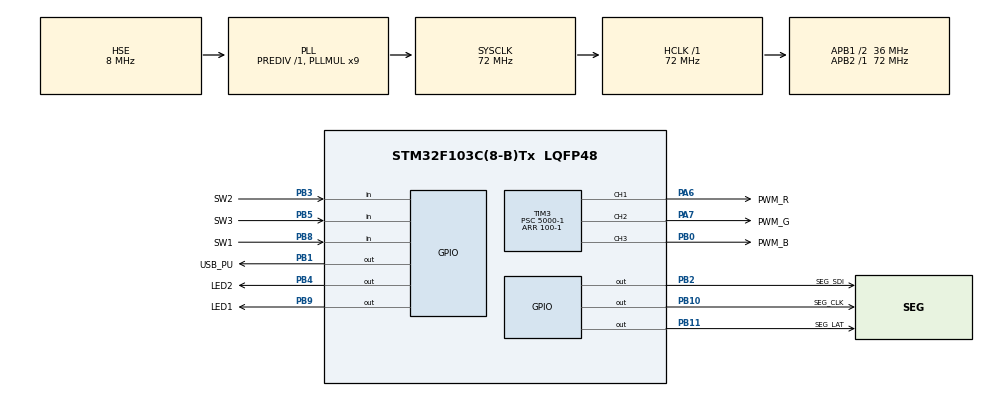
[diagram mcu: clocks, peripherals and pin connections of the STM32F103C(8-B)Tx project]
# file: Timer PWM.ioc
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Mcu.Family=STM32F1
Mcu.Name=STM32F103C(8-B)Tx
Mcu.Package=LQFP48
NVIC.PriorityGroup=NVIC_PRIORITYGROUP_4
PA0-WKUP.GPIO_Label=POT1
PA0-WKUP.Signal=ADCx_IN0
PA1.GPIO_Label=POT2
PA1.Signal=ADCx_IN1
PA10.GPIO_Label=RGB_DI
PA10.Signal=S_TIM1_CH3
PA11.Signal=USB_DM
PA12.Signal=USB_DP
PA13.GPIO_Label=SWDIO
PA13.Mode=Serial_Wire
PA13.Signal=SYS_JTMS-SWDIO
PA14.GPIO_Label=SWCLK
PA14.Mode=Serial_Wire
PA14.Signal=SYS_JTCK-SWCLK
PA15.GPIO_Label=BUZ
PA15.Signal=S_TIM2_CH1_ETR
PA2.GPIO_Label=TX2
PA2.Signal=USART2_TX
PA3.GPIO_Label=RX2
PA3.Signal=USART2_RX
PA4.GPIO_Label=POT3
PA4.Signal=ADCx_IN4
PA5.GPIO_Label=TEMP
PA5.Signal=ADCx_IN5
PA6.GPIO_Label=PWM_R
PA6.Signal=S_TIM3_CH1
PA7.GPIO_Label=PWM_G
PA7.Signal=S_TIM3_CH2
PA8.GPIO_Label=PWM_P
PA8.Signal=S_TIM1_CH1
PB0.GPIO_Label=PWM_B
PB0.Signal=S_TIM3_CH3
PB1.GPIO_Label=USB_PU
PB1.GPIO_Speed=GPIO_SPEED_FREQ_HIGH
PB1.PinState=GPIO_PIN_RESET
PB1.Signal=GPIO_Output
PB10.GPIO_Label=SEG_CLK
PB10.GPIO_ModeDefaultOutputPP=GPIO_MODE_OUTPUT_OD
PB10.GPIO_PuPd=GPIO_NOPULL
PB10.GPIO_Speed=GPIO_SPEED_FREQ_HIGH
PB10.PinState=GPIO_PIN_RESET
PB10.Signal=GPIO_Output
PB11.GPIO_Label=SEG_LAT
PB11.GPIO_ModeDefaultOutputPP=GPIO_MODE_OUTPUT_OD
PB11.GPIO_PuPd=GPIO_NOPULL
PB11.GPIO_Speed=GPIO_SPEED_FREQ_HIGH
PB11.PinState=GPIO_PIN_RESET
PB11.Signal=GPIO_Output
PB13.GPIO_Label=PWM_N
PB13.Signal=TIM1_CH1N
PB2.GPIO_Label=SEG_SDI
PB2.GPIO_ModeDefaultOutputPP=GPIO_MODE_OUTPUT_OD
PB2.GPIO_PuPd=GPIO_NOPULL
PB2.GPIO_Speed=GPIO_SPEED_FREQ_HIGH
PB2.PinState=GPIO_PIN_RESET
PB2.Signal=GPIO_Output
PB3.GPIO_Label=SW2
PB3.Signal=GPIO_Input
PB4.GPIO_Label=LED2
PB4.GPIO_Speed=GPIO_SPEED_FREQ_HIGH
PB4.PinState=GPIO_PIN_RESET
PB4.Signal=GPIO_Output
PB5.GPIO_Label=SW3
PB5.Signal=GPIO_Input
PB6.GPIO_Label=ROT_A
PB6.Signal=S_TIM4_CH1
PB7.GPIO_Label=ROT_B
PB7.Signal=S_TIM4_CH2
PB8.GPIO_Label=SW1
PB8.Signal=GPIO_Input
PB9.GPIO_Label=LED1
PB9.GPIO_Speed=GPIO_SPEED_FREQ_HIGH
PB9.PinState=GPIO_PIN_RESET
PB9.Signal=GPIO_Output
PD0-OSC_IN.GPIO_Label=OSC_IN
PD0-OSC_IN.Mode=HSE-External-Oscillator
PD0-OSC_IN.Signal=RCC_OSC_IN
PD1-OSC_OUT.GPIO_Label=OSC_OUT
PD1-OSC_OUT.Mode=HSE-External-Oscillator
PD1-OSC_OUT.Signal=RCC_OSC_OUT
ProjectManager.HeapSize=0x200
ProjectManager.StackSize=0x400
ProjectManager.TargetToolchain=MDK-ARM V5.27
RCC.ADCPresc=RCC_ADCPCLK2_DIV6
RCC.AHBFreq_Value=72000000
RCC.APB1CLKDivider=RCC_HCLK_DIV2
RCC.APB1Freq_Value=36000000
RCC.APB1TimFreq_Value=72000000
RCC.APB2Freq_Value=72000000
RCC.APB2TimFreq_Value=72000000
RCC.HCLKFreq_Value=72000000
RCC.PLLMUL=RCC_PLL_MUL9
RCC.PLLSourceVirtual=RCC_PLLSOURCE_HSE
RCC.SYSCLKFreq_VALUE=72000000
RCC.SYSCLKSource=RCC_SYSCLKSOURCE_PLLCLK
RCC.USBFreq_Value=48000000
RCC.USBPrescaler=RCC_USBCLKSOURCE_PLL_DIV1_5
SH.ADCx_IN0.0=ADC1_IN0
SH.ADCx_IN1.0=ADC1_IN1
SH.ADCx_IN4.0=ADC1_IN4
SH.ADCx_IN5.0=ADC1_IN5
SH.S_TIM1_CH1.0=TIM1_CH1
SH.S_TIM1_CH3.0=TIM1_CH3
SH.S_TIM2_CH1_ETR.0=TIM2_CH1
SH.S_TIM3_CH1.0=TIM3_CH1,PWM Generation1 CH1
SH.S_TIM3_CH2.0=TIM3_CH2,PWM Generation2 CH2
SH.S_TIM3_CH3.0=TIM3_CH3,PWM Generation3 CH3
SH.S_TIM4_CH1.0=TIM4_CH1
SH.S_TIM4_CH2.0=TIM4_CH2
TIM3.Channel-PWM\ Generation1\ CH1=TIM_CHANNEL_1
TIM3.Channel-PWM\ Generation2\ CH2=TIM_CHANNEL_2
TIM3.Channel-PWM\ Generation3\ CH3=TIM_CHANNEL_3
TIM3.Period=100-1
TIM3.Prescaler=5000-1
VP_TIM3_VS_ClockSourceINT.Mode=Internal
board=custom

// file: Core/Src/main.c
/* USER CODE BEGIN Header */
/**
  ******************************************************************************
  * @file           : main.c
  * @brief          : Main program body
  ******************************************************************************
  * @attention
  *
  * Copyright (c) 2022 STMicroelectronics.
  * All rights reserved.
  *
  * This software is licensed under terms that can be found in the LICENSE file
  * in the root directory of this software component.
  * If no LICENSE file comes with this software, it is provided AS-IS.
  *
  ******************************************************************************
  */
/* USER CODE END Header */
#include "main.h"
#include "tim.h"
#include "gpio.h"

void SystemClock_Config(void);

int main(void)
{
  /* USER CODE BEGIN 1 */

	uint16_t duty_cycle = 0;
	uint16_t ch = 1;

  /* USER CODE END 1 */

  /* MCU Configuration--------------------------------------------------------*/

  /* Reset of all peripherals, Initializes the Flash interface and the Systick. */
  HAL_Init();

  /* Configure the system clock */
  SystemClock_Config();

  /* Initialize all configured peripherals */
  MX_GPIO_Init();
  MX_TIM3_Init();
  /* USER CODE BEGIN 2 */

	HAL_TIM_PWM_Start(&htim3, TIM_CHANNEL_1);
	HAL_TIM_PWM_Start(&htim3, TIM_CHANNEL_2);
	HAL_TIM_PWM_Start(&htim3, TIM_CHANNEL_3);

  /* USER CODE END 2 */

  /* Infinite loop */
  while (1)
  {

    /* USER CODE BEGIN 3 */
		while(duty_cycle < __HAL_TIM_GET_AUTORELOAD(&htim3))
		{
			switch(ch)
			{
				case 1:
					__HAL_TIM_SET_COMPARE(&htim3, TIM_CHANNEL_1, ++duty_cycle);
					break;
				case 2:
					__HAL_TIM_SET_COMPARE(&htim3, TIM_CHANNEL_2, ++duty_cycle);
					break;
				case 3:
					__HAL_TIM_SET_COMPARE(&htim3, TIM_CHANNEL_3, ++duty_cycle);
					break;
			}
			HAL_Delay(5);
		}

		while(duty_cycle > 0)
		{
			switch(ch)
			{
				case 1:
					__HAL_TIM_SET_COMPARE(&htim3, TIM_CHANNEL_1, --duty_cycle);
					break;
				case 2:
					__HAL_TIM_SET_COMPARE(&htim3, TIM_CHANNEL_2, --duty_cycle);
					break;
				case 3:
					__HAL_TIM_SET_COMPARE(&htim3, TIM_CHANNEL_3, --duty_cycle);
					break;
			}
			HAL_Delay(5);
		}
		ch++;
		if(ch > 3)
		{
			ch = 1;
		}
  }
  /* USER CODE END 3 */
}

void SystemClock_Config(void)
{
  RCC_OscInitTypeDef RCC_OscInitStruct = {0};
  RCC_ClkInitTypeDef RCC_ClkInitStruct = {0};

  /** Initializes the RCC Oscillators according to the specified parameters
  * in the RCC_OscInitTypeDef structure.
  */
  RCC_OscInitStruct.OscillatorType = RCC_OSCILLATORTYPE_HSE;
  RCC_OscInitStruct.HSEState = RCC_HSE_ON;
  RCC_OscInitStruct.HSEPredivValue = RCC_HSE_PREDIV_DIV1;
  RCC_OscInitStruct.HSIState = RCC_HSI_ON;
  RCC_OscInitStruct.PLL.PLLState = RCC_PLL_ON;
  RCC_OscInitStruct.PLL.PLLSource = RCC_PLLSOURCE_HSE;
  RCC_OscInitStruct.PLL.PLLMUL = RCC_PLL_MUL9;
  if (HAL_RCC_OscConfig(&RCC_OscInitStruct) != HAL_OK)
  {
    Error_Handler();
  }
  /** Initializes the CPU, AHB and APB buses clocks
  */
  RCC_ClkInitStruct.ClockType = RCC_CLOCKTYPE_HCLK|RCC_CLOCKTYPE_SYSCLK
                              |RCC_CLOCKTYPE_PCLK1|RCC_CLOCKTYPE_PCLK2;
  RCC_ClkInitStruct.SYSCLKSource = RCC_SYSCLKSOURCE_PLLCLK;
  RCC_ClkInitStruct.AHBCLKDivider = RCC_SYSCLK_DIV1;
  RCC_ClkInitStruct.APB1CLKDivider = RCC_HCLK_DIV2;
  RCC_ClkInitStruct.APB2CLKDivider = RCC_HCLK_DIV1;

  if (HAL_RCC_ClockConfig(&RCC_ClkInitStruct, FLASH_LATENCY_2) != HAL_OK)
  {
    Error_Handler();
  }
}

void Error_Handler(void)
{
  __disable_irq();
  while (1)
  {
  }
}
